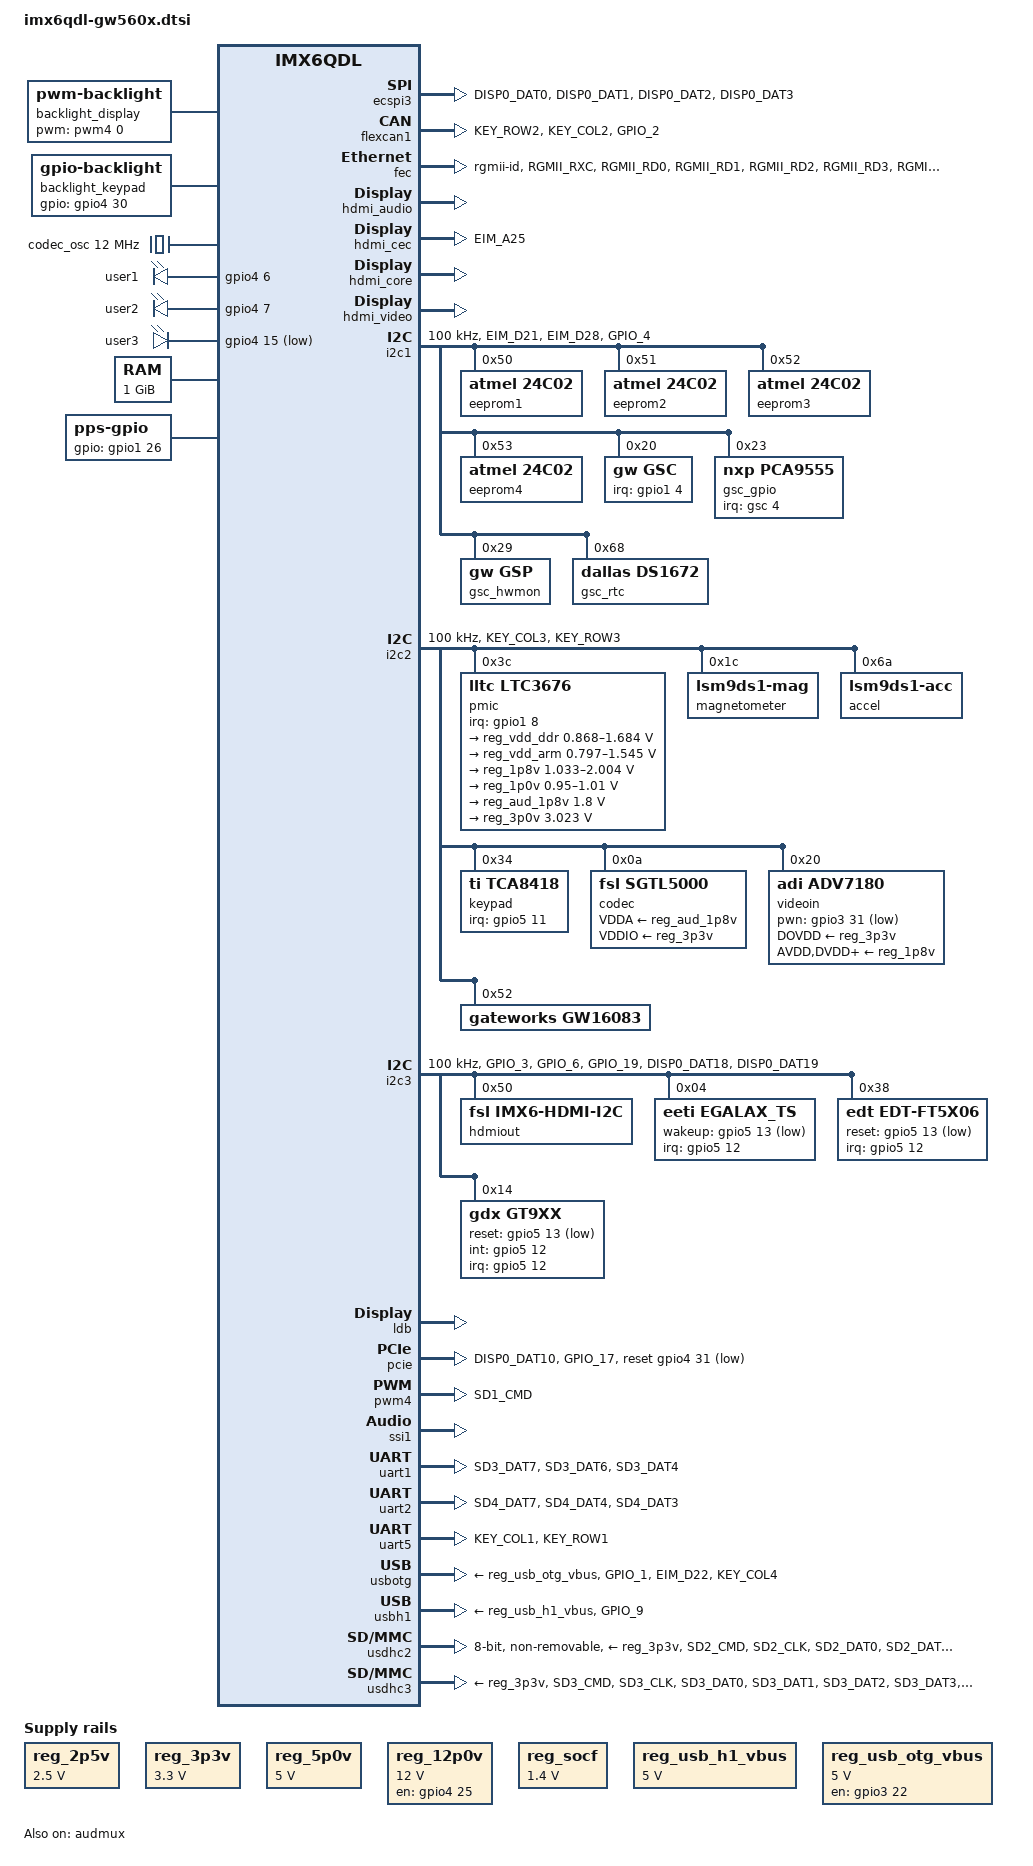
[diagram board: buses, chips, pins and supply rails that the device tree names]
/*
 * Copyright 2016 Gateworks Corporation
 *
 * The code contained herein is licensed under the GNU General Public
 * License. You may obtain a copy of the GNU General Public License
 * Version 2 or later at the following locations:
 *
 * http://www.opensource.org/licenses/gpl-license.html
 * http://www.gnu.org/copyleft/gpl.html
 */

/ {
	/* these are used by bootloader for disabling nodes */
	aliases {
		can0 = &flexcan1;
		ethernet0 = &fec;
		led0 = &led0;
		led1 = &led1;
		led2 = &led2;
		lvds0 = &lvds1;
		mxcfb0 = &mxcfb1;
		mxcfb1 = &mxcfb2;
		ssi0 = &ssi1;
		usb0 = &usbh1;
		usb1 = &usbotg;
		usdhc1 = &usdhc2;
		usdhc2 = &usdhc3;
	};

	chosen {
		bootargs = "console=ttymxc1,115200";
	};

	backlight_display {
		compatible = "pwm-backlight";
		pwms = <&pwm4 0 5000000>;
		brightness-levels = <0 4 8 16 32 64 128 255>;
		default-brightness-level = <7>;
	};

	backlight_keypad {
		compatible = "gpio-backlight";
		gpios = <&gpio4 30 GPIO_ACTIVE_HIGH>;
		default-on;
	};

	clocks {
		codec_osc: codec_osc {
			#clock-cells = <0>;
			compatible = "fixed-clock";
			clock-frequency = <12000000>;
		};
	};

	leds {
		compatible = "gpio-leds";
		pinctrl-names = "default";
		pinctrl-0 = <&pinctrl_gpio_leds>;

		led0: user1 {
			label = "user1";
			gpios = <&gpio4 6 GPIO_ACTIVE_HIGH>; /* MX6_PANLEDG */
			default-state = "on";
			linux,default-trigger = "heartbeat";
		};

		led1: user2 {
			label = "user2";
			gpios = <&gpio4 7 GPIO_ACTIVE_HIGH>; /* MX6_PANLEDR */
			default-state = "off";
		};

		led2: user3 {
			label = "user3";
			gpios = <&gpio4 15 GPIO_ACTIVE_LOW>; /* MX6_LOCLED# */
			default-state = "off";
		};
	};

	memory {
		reg = <0x10000000 0x40000000>;
	};

	pps {
		compatible = "pps-gpio";
		pinctrl-names = "default";
		pinctrl-0 = <&pinctrl_pps>;
		gpios = <&gpio1 26 GPIO_ACTIVE_HIGH>;
		status = "okay";
	};

	regulators {
		compatible = "simple-bus";
		#address-cells = <1>;
		#size-cells = <0>;

		reg_2p5v: regulator@0 {
			compatible = "regulator-fixed";
			reg = <0>;
			regulator-name = "2P5V";
			regulator-min-microvolt = <2500000>;
			regulator-max-microvolt = <2500000>;
			regulator-always-on;
		};

		reg_3p3v: regulator@1 {
			compatible = "regulator-fixed";
			reg = <1>;
			regulator-name = "3P3V";
			regulator-min-microvolt = <3300000>;
			regulator-max-microvolt = <3300000>;
			regulator-always-on;
		};

		reg_5p0v: regulator@2 {
			compatible = "regulator-fixed";
			reg = <2>;
			regulator-name = "5P0V";
			regulator-min-microvolt = <5000000>;
			regulator-max-microvolt = <5000000>;
			regulator-always-on;
		};

		reg_12p0v: regulator@3 {
			compatible = "regulator-fixed";
			reg = <3>;
			regulator-name = "12P0V";
			regulator-min-microvolt = <12000000>;
			regulator-max-microvolt = <12000000>;
			gpio = <&gpio4 25 GPIO_ACTIVE_HIGH>;
			enable-active-high;
		};

		reg_socf: regulator@4 {
			compatible = "regulator-fixed";
			reg = <4>;
			regulator-name = "vdd_soc";
			regulator-min-microvolt = <1400000>;
			regulator-max-microvolt = <1400000>;
			regulator-always-on;
		};

		reg_usb_h1_vbus: regulator@5 {
			compatible = "regulator-fixed";
			reg = <5>;
			regulator-name = "usb_h1_vbus";
			regulator-min-microvolt = <5000000>;
			regulator-max-microvolt = <5000000>;
			regulator-always-on;
		};

		reg_usb_otg_vbus: regulator@6 {
			compatible = "regulator-fixed";
			reg = <6>;
			regulator-name = "usb_otg_vbus";
			regulator-min-microvolt = <5000000>;
			regulator-max-microvolt = <5000000>;
			gpio = <&gpio3 22 GPIO_ACTIVE_HIGH>;
			enable-active-high;
		};
	};

	sound {
		compatible = "fsl,imx6q-ventana-sgtl5000",
			     "fsl,imx-audio-sgtl5000";
		model = "sgtl5000-audio";
		cpu-dai = <&ssi1>;
		audio-codec = <&codec>;
		audio-routing =
			"LINE_IN", "Line In Jack",
			"Line Out Jack", "LINE_OUT";
		mux-int-port = <1>;
		mux-ext-port = <4>;
	};

	sound-hdmi {
		compatible = "fsl,imx6q-audio-hdmi",
			     "fsl,imx-audio-hdmi";
		model = "imx-audio-hdmi";
		hdmi-controller = <&hdmi_audio>;
	};

	mxcfb1: fb@0 {
		/* hdmi */
		compatible = "fsl,mxc_sdc_fb";
		disp_dev = "hdmi";
		interface_pix_fmt = "RGB24";
		mode_str ="1920x1080M@60";
		default_bpp = <24>;
		int_clk = <0>;
		late_init = <0>;
		status = "okay";
	};

	mxcfb2: fb@1 {
		/* LVDS */
		compatible = "fsl,mxc_sdc_fb";
		disp_dev = "ldb";
		interface_pix_fmt = "RGB666";
		default_bpp = <16>;
		int_clk = <0>;
		late_init = <0>;
		status = "okay";
	};

	/*
	 * GW560x uses EIM1 for analog video capture.
	 * IMX6SDL EIM1 is IPU1_CSI1, IMX6DQ EIM1 is IPU2_CSI1
	 * thus pinctrl is done in soc-specific dts files
	 */
	cap0: v4l2_cap_0 {
		compatible = "fsl,imx6q-v4l2-capture";
		/* ipu/csi id set in cpu specific as pinmux varies */
		mclk_source = <0>;
		status = "okay";
	};

	/*
	 * GW560x uses IPU1_CSI0 for off-board 16bit capture.
	 */
	cap1: v4l2_cap_1 {
		compatible = "fsl,imx6q-v4l2-capture";
		pinctrl-names = "default";
		pinctrl-0 = <&pinctrl_ipu1_csi0>;
                ipu_id = <0>;
                csi_id = <0>;
                mclk_source = <0>;
                status = "okay";
	};

	v4l2_out {
		compatible = "fsl,mxc_v4l2_output";
		status = "okay";
	};
};

&audmux {
	pinctrl-names = "default";
	pinctrl-0 = <&pinctrl_audmux>;
	status = "okay";
};

&ecspi3 {
	fsl,spi-num-chipselects = <1>;
	cs-gpios = <&gpio4 24 GPIO_ACTIVE_HIGH>;
	pinctrl-names = "default";
	pinctrl-0 = <&pinctrl_ecspi3>;
	status = "okay";
};

&flexcan1 {
	pinctrl-names = "default";
	pinctrl-0 = <&pinctrl_flexcan>;
	trx-stby-gpio = <&gpio1 2 GPIO_ACTIVE_HIGH>;
	status = "okay";
};

&fec {
	pinctrl-names = "default";
	pinctrl-0 = <&pinctrl_enet>;
	phy-mode = "rgmii-id";
	phy-reset-gpios = <&gpio1 30 GPIO_ACTIVE_LOW>;
	status = "okay";
};

&gpc {
	fsl,ldo-bypass = <0>;
};

&hdmi_audio {
	status = "okay";
};

&hdmi_cec {
	pinctrl-names = "default";
	pinctrl-0 = <&pinctrl_hdmi_cec>;
	status = "okay";
};

&hdmi_core {
	ipu_id = <0>;
	disp_id = <1>;
	status = "okay";
};

&hdmi_video {
	fsl,phy_reg_vlev = <0x0294>;
	fsl,phy_reg_cksymtx = <0x800d>;
	status = "okay";
};

&i2c1 {
	clock-frequency = <100000>;
	pinctrl-names = "default";
	pinctrl-0 = <&pinctrl_i2c1>;
	status = "okay";

	eeprom1: eeprom@50 {
		compatible = "atmel,24c02";
		reg = <0x50>;
		pagesize = <16>;
	};

	eeprom2: eeprom@51 {
		compatible = "atmel,24c02";
		reg = <0x51>;
		pagesize = <16>;
	};

	eeprom3: eeprom@52 {
		compatible = "atmel,24c02";
		reg = <0x52>;
		pagesize = <16>;
	};

	eeprom4: eeprom@53 {
		compatible = "atmel,24c02";
		reg = <0x53>;
		pagesize = <16>;
	};

	gsc: gsc@20 {
		compatible = "gw,gsc";
		reg = <0x20>;
		interrupt-parent = <&gpio1>;
		interrupts = <4 GPIO_ACTIVE_LOW>;
		interrupt-controller;
		#interrupt-cells = <1>;

		/* GSC watchdog */
		watchdog {
			compatible = "gw,gsc_wdt";
			status = "okay";
		};

		/* Linux input events from GSC interrupt events */
		input {
			compatible = "gw,gsc_input";
			interrupt-parent = <&gsc>;
			interrupts = <0 1 2 5 7>;
			interrupt-names = "button", "key-erased", "eeprom-wp", "tamper", "button-held";
			status = "okay";
		};
	};

	gsc_gpio: pca9555@23 {
		compatible = "nxp,pca9555";
		reg = <0x23>;
		gpio-controller;
		#gpio-cells = <2>;
		interrupt-parent = <&gsc>;
		interrupts = <4>;
	};

	gsc_hwmon: hwmon@29 {
		compatible = "gw,gsp";
		reg = <0x29>;
	};

	gsc_rtc: ds1672@68 {
		compatible = "dallas,ds1672";
		reg = <0x68>;
	};
};

&i2c2 {
	clock-frequency = <100000>;
	pinctrl-names = "default";
	pinctrl-0 = <&pinctrl_i2c2>;
	status = "okay";

	pmic: ltc3676@3c {
		compatible = "lltc,ltc3676";
		pinctrl-names = "default";
		pinctrl-0 = <&pinctrl_pmic>;
		reg = <0x3c>;
		interrupt-parent = <&gpio1>;
		interrupts = <8 IRQ_TYPE_EDGE_FALLING>;

		regulators {
			/* VDD_DDR (1+R1/R2 = 2.105) */
			reg_vdd_ddr: sw2 {
				regulator-name = "vddddr";
				regulator-min-microvolt = <868310>;
				regulator-max-microvolt = <1684000>;
				lltc,fb-voltage-divider = <221000 200000>;
				regulator-ramp-delay = <7000>;
				regulator-boot-on;
				regulator-always-on;
			};

			/* VDD_ARM (1+R1/R2 = 1.931) */
			reg_vdd_arm: sw3 {
				regulator-name = "pmic_vddarm";
				regulator-min-microvolt = <796551>;
				regulator-max-microvolt = <1544827>;
				lltc,fb-voltage-divider = <243000 261000>;
				regulator-ramp-delay = <7000>;
				regulator-boot-on;
				regulator-always-on;
				linux,phandle = <&reg_vdd_arm>;
			};

			/* VDD_1P8 (1+R1/R2 = 2.505): GPS/VideoIn/ENET-PHY */
			reg_1p8v: sw4 {
				regulator-name = "vdd1p8";
				regulator-min-microvolt = <1033310>;
				regulator-max-microvolt = <2004000>;
				lltc,fb-voltage-divider = <301000 200000>;
				regulator-ramp-delay = <7000>;
				regulator-boot-on;
				regulator-always-on;
			};

			/* VDD_1P0 (1+R1/R2 = 1.01): PCIe/ENET-PHY */
			reg_1p0v: ldo2 {
				regulator-name = "vdd1p0";
				regulator-min-microvolt = <950000>;
				regulator-max-microvolt = <1010000>;
				lltc,fb-voltage-divider = <78700 200000>;
				regulator-boot-on;
				regulator-always-on;
			};

			/* VDD_AUD_1P8: Audio codec */
			reg_aud_1p8v: ldo3 {
				regulator-name = "vdd1p8a";
				regulator-min-microvolt = <1800000>;
				regulator-max-microvolt = <1800000>;
				regulator-boot-on;
			};

			/* VDD_HIGH (1+R1/R2 = 4.17) */
			reg_3p0v: ldo4 {
				regulator-name = "pmic_vdd3p0";
				regulator-min-microvolt = <3023250>;
				regulator-max-microvolt = <3023250>;
				lltc,fb-voltage-divider = <634000 200000>;
				regulator-boot-on;
				regulator-always-on;
			};
		};
	};

	magnetometer: lsm9ds1@1c {
		compatible = "lsm9ds1-mag";
		pinctrl-names = "default";
		pinctrl-0 = <&pinctrl_mag>;
		reg = <0x1c>;
	};

	accel: lsm9ds1@6a {
		compatible = "lsm9ds1-acc";
		pinctrl-names = "default";
		pinctrl-0 = <&pinctrl_acc>;
		reg = <0x6a>;
	};

	keypad: tca8418@34 {
		compatible = "ti,tca8418";
		pinctrl-names = "default";
		pinctrl-0 = <&pinctrl_keypad>;
		reg = <0x34>;
		interrupt-parent = <&gpio5>;
		interrupts = <11 IRQ_TYPE_EDGE_FALLING>;
		linux,keymap = <0x00010100	/* BTN_0 HOME */
			        0x00000101	/* BTN_1 MENU */
			        0x01010102	/* BTN_2 ESCAPE */
			        0x01000103	/* BTN_3 BACK */
			        0x02000104	/* BTN_4 SEARCH */
			        0x00030105	/* BTN_5 UP */
			        0x00020106	/* BTN_6 RIGHT */
			        0x01030107	/* BTN_7 LEFT */
			        0x01020108	/* BTN_8 DOWN */
			        0x02020109>;	/* BTN_9 ENTER */
		keypad,num-rows = <4>;
		keypad,num-columns = <4>;
	};

	codec: sgtl5000@0a {
		compatible = "fsl,sgtl5000";
		reg = <0x0a>;
		clocks = <&codec_osc>;
		VDDA-supply = <&reg_aud_1p8v>;
		VDDIO-supply = <&reg_3p3v>;
	};

	/* Analog VideoIn */
	/* EIM pads differ between IMX6Q and IMX6DL so we define pinmux/csi/ipu in IMX6Q/IMX6DL */
	videoin: adv7180@20 {
		compatible = "adi,adv7180";
		reg = <0x20>;
		clocks = <&clks 201>;
		clock-names = "csi_mclk";
		DOVDD-supply = <&reg_3p3v>;
		AVDD-supply = <&reg_1p8v>;
		DVDD-supply = <&reg_1p8v>;
		PVDD-supply = <&reg_1p8v>;
		pwn-gpios = <&gpio3 31 GPIO_ACTIVE_LOW>; /* powerdown */
		/* mclk required but not used */
		mclk = <24000000>;
		mclk_source = <0>;
		cvbs = <1>;
	};

	gw16083: gw16083@52 {
		compatible = "gateworks,gw16083";
		reg = <0x52>;
	};
};

&i2c3 {
	clock-frequency = <100000>;
	pinctrl-names = "default";
	pinctrl-0 = <&pinctrl_i2c3>;
	status = "okay";

	hdmiout: edid@50 {
		compatible = "fsl,imx6-hdmi-i2c";
		reg = <0x50>;
	};

	/* touchscreen */
	egalax_ts@04 {
		compatible = "eeti,egalax_ts";
		reg = <0x04>;
		interrupt-parent = <&gpio5>;
		interrupts = <12 IRQ_TYPE_EDGE_FALLING>;
		wakeup-gpios = <&gpio5 13 GPIO_ACTIVE_LOW>;
	};

	/* touchscreen */
	edt-ft5x06@38 {
		compatible = "edt,edt-ft5x06";
		reg = <0x38>;
		interrupt-parent = <&gpio5>;
		interrupts = <12 IRQ_TYPE_EDGE_FALLING>;
		reset-gpios = <&gpio5 13 GPIO_ACTIVE_LOW>;
		invert;
		screen-x = <1024>;
		screen-y = <600>;
	};

	/* touchscreen */
	gt9xx@14 {
		compatible = "gdx,gt9xx";
		reg = <0x14>;
		interrupt-parent = <&gpio5>;
		interrupts = <12 IRQ_TYPE_EDGE_FALLING>;
		reset-gpio = <&gpio5 13 GPIO_ACTIVE_LOW>;
		int-gpio = <&gpio5 12 GPIO_ACTIVE_HIGH>;
		rotate;
	};
};

&ldb {
	fsl,dual-channel;
	status = "okay";

	lvds1: lvds-channel@0 {
		fsl,data-mapping = "spwg";
		fsl,data-width = <18>;
		crtc = "ipu1-di0";
		status = "okay";
		primary;

		display-timings {
			native-mode = <&timing0>;

			timing0: hsd100pxn1 {
				clock-frequency = <65000000>;
				hactive = <1024>;
				vactive = <768>;
				hback-porch = <220>;
				hfront-porch = <40>;
				vback-porch = <21>;
				vfront-porch = <7>;
				hsync-len = <60>;
				vsync-len = <10>;
				linux,phandle = <&timing0>;
			};

			timing1: dlc800figt3 {
				clock-frequency = <65000000>;
				hactive = <1024>;
				vactive = <768>;
				hback-porch = <220>;
				hfront-porch = <40>;
				vback-porch = <21>;
				vfront-porch = <7>;
				hsync-len = <60>;
				vsync-len = <10>;
				linux,phandle = <&timing1>;
			};

			timing2: dlc700jmgt4 {
				clock-frequency = <65000000>;
				hactive = <1024>;
				vactive = <600>;
				hback-porch = <180>;
				hfront-porch = <40>;
				vback-porch = <21>;
				vfront-porch = <7>;
				hsync-len = <60>;
				vsync-len = <10>;
				linux,phandle = <&timing2>;
			};
		};
	};
};

&pcie {
	pinctrl-names = "default";
	pinctrl-0 = <&pinctrl_pcie>;
	reset-gpio = <&gpio4 31 GPIO_ACTIVE_LOW>;
	status = "okay";
};

&pwm2 {
	pinctrl-names = "default";
	pinctrl-0 = <&pinctrl_pwm2>; /* MX6_DIO1 */
	status = "disabled";
};

&pwm3 {
	pinctrl-names = "default";
	pinctrl-0 = <&pinctrl_pwm3>; /* MX6_DIO2 */
	status = "disabled";
};

&pwm4 {
	pinctrl-names = "default";
	pinctrl-0 = <&pinctrl_pwm4>;
	status = "okay";
};

&ssi1 {
	fsl,mode = "i2s-slave";
	status = "okay";
};

&uart1 {
	pinctrl-names = "default";
	pinctrl-0 = <&pinctrl_uart1>;
	fsl,rs485-gpio-txen = <&gpio7 1 GPIO_ACTIVE_HIGH>;
	status = "okay";
};

&uart2 {
	pinctrl-names = "default";
	pinctrl-0 = <&pinctrl_uart2>;
	status = "okay";
};

&uart5 {
	pinctrl-names = "default";
	pinctrl-0 = <&pinctrl_uart5>;
	status = "okay";
};

&usbotg {
	vbus-supply = <&reg_usb_otg_vbus>;
	pinctrl-names = "default";
	pinctrl-0 = <&pinctrl_usbotg>;
	disable-over-current;
	status = "okay";
};

&usbh1 {
	vbus-supply = <&reg_usb_h1_vbus>;
	pinctrl-names = "default";
	pinctrl-0 = <&pinctrl_usbh1>;
	status = "okay";
};

&usdhc2 {
	pinctrl-names = "default";
	pinctrl-0 = <&pinctrl_usdhc2>;
	bus-width = <8>;
	vmmc-supply = <&reg_3p3v>;
	non-removable;
	status = "okay";
};

&usdhc3 {
	pinctrl-names = "default", "state_100mhz", "state_200mhz";
	pinctrl-0 = <&pinctrl_usdhc3>;
	pinctrl-1 = <&pinctrl_usdhc3_100mhz>;
	pinctrl-2 = <&pinctrl_usdhc3_200mhz>;
	cd-gpios = <&gpio7 0 GPIO_ACTIVE_HIGH>;
	vmmc-supply = <&reg_3p3v>;
	status = "okay";
};

&wdog1 {
	pinctrl-names = "default";
	pinctrl-0 = <&pinctrl_wdog>;
	ext-reset-output;
};

&iomuxc {
	pinctrl-names = "default";
	pinctrl-0 = <&pinctrl_hog>;

	imx6qdl-gw53xx {
		pinctrl_hog: hoggrp {
			fsl,pins = <
				MX6QDL_PAD_EIM_A19__GPIO2_IO19		0x4001b0b0 /* MEZZ_DIO0 */
				MX6QDL_PAD_EIM_A20__GPIO2_IO18		0x0001b0b0 /* MEZZ_DIO1 */
				MX6QDL_PAD_DISP0_DAT5__GPIO4_IO26	0x4001b0b0 /* 12V0_PWR_EN */
			 >;
		};

		pinctrl_audmux: audmuxgrp {
			fsl,pins = <
				/* AUD4 */
				MX6QDL_PAD_DISP0_DAT20__AUD4_TXC	0x130b0
				MX6QDL_PAD_DISP0_DAT21__AUD4_TXD	0x130b0
				MX6QDL_PAD_DISP0_DAT22__AUD4_TXFS	0x130b0
				MX6QDL_PAD_DISP0_DAT23__AUD4_RXD	0x130b0
				/* AUD6 */
				MX6QDL_PAD_DI0_PIN2__AUD6_TXD		0x130b0
				MX6QDL_PAD_DI0_PIN3__AUD6_TXFS		0x130b0
				MX6QDL_PAD_DI0_PIN4__AUD6_RXD		0x130b0
				MX6QDL_PAD_DI0_PIN15__AUD6_TXC		0x130b0
			>;
		};

		pinctrl_ecspi3: escpi3grp {
			fsl,pins = <
				MX6QDL_PAD_DISP0_DAT0__ECSPI3_SCLK	0x100b1
				MX6QDL_PAD_DISP0_DAT1__ECSPI3_MOSI	0x100b1
				MX6QDL_PAD_DISP0_DAT2__ECSPI3_MISO	0x100b1
				MX6QDL_PAD_DISP0_DAT3__GPIO4_IO24	0x100b1
			>;
		};

		pinctrl_enet: enetgrp {
			fsl,pins = <
				MX6QDL_PAD_RGMII_RXC__RGMII_RXC		0x1b0b0
				MX6QDL_PAD_RGMII_RD0__RGMII_RD0		0x1b0b0
				MX6QDL_PAD_RGMII_RD1__RGMII_RD1		0x1b0b0
				MX6QDL_PAD_RGMII_RD2__RGMII_RD2		0x1b0b0
				MX6QDL_PAD_RGMII_RD3__RGMII_RD3		0x1b0b0
				MX6QDL_PAD_RGMII_RX_CTL__RGMII_RX_CTL	0x1b0b0
				MX6QDL_PAD_RGMII_TXC__RGMII_TXC		0x1b0b0
				MX6QDL_PAD_RGMII_TD0__RGMII_TD0		0x1b0b0
				MX6QDL_PAD_RGMII_TD1__RGMII_TD1		0x1b0b0
				MX6QDL_PAD_RGMII_TD2__RGMII_TD2		0x1b0b0
				MX6QDL_PAD_RGMII_TD3__RGMII_TD3		0x1b0b0
				MX6QDL_PAD_RGMII_TX_CTL__RGMII_TX_CTL	0x1b0b0
				MX6QDL_PAD_ENET_REF_CLK__ENET_TX_CLK	0x1b0b0
				MX6QDL_PAD_ENET_MDIO__ENET_MDIO		0x1b0b0
				MX6QDL_PAD_ENET_MDC__ENET_MDC		0x1b0b0
				MX6QDL_PAD_GPIO_16__ENET_REF_CLK	0x4001b0a8
				MX6QDL_PAD_ENET_TXD0__GPIO1_IO30	0x4001b0b0 /* PHY_RST# */
			>;
		};

		pinctrl_flexcan: flexcangrp {
			fsl,pins = <
				MX6QDL_PAD_KEY_ROW2__FLEXCAN1_RX	0x1b0b1
				MX6QDL_PAD_KEY_COL2__FLEXCAN1_TX	0x1b0b1
				MX6QDL_PAD_GPIO_2__GPIO1_IO02		0x4001b0b0 /* CAN_STBY */
			>;
		};

		pinctrl_gpio_leds: gpioledsgrp {
			fsl,pins = <
				MX6QDL_PAD_KEY_COL0__GPIO4_IO06		0x1b0b0
				MX6QDL_PAD_KEY_ROW0__GPIO4_IO07		0x1b0b0
				MX6QDL_PAD_KEY_ROW4__GPIO4_IO15		0x1b0b0
			>;
		};

		pinctrl_hdmi_cec: hdmicecgrp {
			fsl,pins = <
				MX6QDL_PAD_EIM_A25__HDMI_TX_CEC_LINE	0x1f8b0
			>;
		};

		pinctrl_i2c1: i2c1grp {
			fsl,pins = <
				MX6QDL_PAD_EIM_D21__I2C1_SCL		0x4001b8b1
				MX6QDL_PAD_EIM_D28__I2C1_SDA		0x4001b8b1
				MX6QDL_PAD_GPIO_4__GPIO1_IO04 		0x0001b0b0 /* GSC_IRQ# */
			>;
		};

		pinctrl_usbh1: usbh1grp {
			fsl,pins = <
				MX6QDL_PAD_GPIO_9__GPIO1_IO09		0x4001b0b0 /* USBHUB_RST# */
			>;
		};

		pinctrl_i2c2: i2c2grp {
			fsl,pins = <
				MX6QDL_PAD_KEY_COL3__I2C2_SCL		0x4001b8b1
				MX6QDL_PAD_KEY_ROW3__I2C2_SDA		0x4001b8b1
			>;
		};

		pinctrl_pmic: pmicgrp {
			fsl,pins = <
				MX6QDL_PAD_GPIO_8__GPIO1_IO08		0x0001b0b0 /* PMIC_IRQ# */
			>;
		};

		pinctrl_acc: accgrp {
			fsl,pins = <
				MX6QDL_PAD_DISP0_DAT12__GPIO5_IO06	0x0001b0b0 /* SENSE_INT1 */
				MX6QDL_PAD_DISP0_DAT13__GPIO5_IO07	0x0001b0b0 /* SENSE_INT2 */
				MX6QDL_PAD_DISP0_DAT16__GPIO5_IO10	0x0001b0b0 /* GYRO_CONTROL */
			>;
		};

		pinctrl_mag: maggrp {
			fsl,pins = <
				MX6QDL_PAD_DISP0_DAT14__GPIO5_IO08	0x0001b0b0 /* DRDY_M */
				MX6QDL_PAD_DISP0_DAT15__GPIO5_IO09	0x0001b0b0 /* MAG_INT */
			>;
		};

		pinctrl_i2c3: i2c3grp {
			fsl,pins = <
				MX6QDL_PAD_GPIO_3__I2C3_SCL		0x4001b8b1
				MX6QDL_PAD_GPIO_6__I2C3_SDA		0x4001b8b1

				/* Misc */
				MX6QDL_PAD_GPIO_19__GPIO4_IO05		0x4001b0b0 /* DIOI2C_DIS# */

				/* Backlight / Touch Connector */
				MX6QDL_PAD_DISP0_DAT18__GPIO5_IO12	0x0001b0b0 /* LVDS_TOUCH_IRQ# */
				MX6QDL_PAD_DISP0_DAT19__GPIO5_IO13	0x0001b0b0 /* LVDS_BACKEN */

			>;
		};

		pinctrl_keypad: keypadgrp {
			fsl,pins = <
				MX6QDL_PAD_DISP0_DAT17__GPIO5_IO11	0x0001b0b0 /* KEYPAD_IRQ# */
				MX6QDL_PAD_DISP0_DAT9__GPIO4_IO30	0x0001b0b0 /* KEYPAD_LED_EN */
			>;
		};

		pinctrl_pcie: pciegrp {
			fsl,pins = <
				MX6QDL_PAD_DISP0_DAT10__GPIO4_IO31	0x1b0b0    /* PCI_RST# */
				MX6QDL_PAD_GPIO_17__GPIO7_IO12		0x4001b0b0 /* PCIESKT_WDIS# */
			>;
		};

		pinctrl_pps: ppsgrp {
			fsl,pins = <
				MX6QDL_PAD_ENET_RXD1__GPIO1_IO26	0x1b0b1
			>;
		};

		pinctrl_pwm2: pwm2grp {
			fsl,pins = <
				MX6QDL_PAD_SD1_DAT2__PWM2_OUT		0x1b0b1
			>;
		};

		pinctrl_pwm3: pwm3grp {
			fsl,pins = <
				MX6QDL_PAD_SD1_DAT1__PWM3_OUT		0x1b0b1
			>;
		};

		pinctrl_pwm4: pwm4grp {
			fsl,pins = <
				MX6QDL_PAD_SD1_CMD__PWM4_OUT		0x1b0b1
			>;
		};

		pinctrl_uart1: uart1grp {
			fsl,pins = <
				MX6QDL_PAD_SD3_DAT7__UART1_TX_DATA	0x1b0b1
				MX6QDL_PAD_SD3_DAT6__UART1_RX_DATA	0x1b0b1
				MX6QDL_PAD_SD3_DAT4__GPIO7_IO01		0x4001b0b1 /* TEN */
			>;
		};

		pinctrl_uart2: uart2grp {
			fsl,pins = <
				MX6QDL_PAD_SD4_DAT7__UART2_TX_DATA	0x1b0b1
				MX6QDL_PAD_SD4_DAT4__UART2_RX_DATA	0x1b0b1
				MX6QDL_PAD_SD4_DAT3__GPIO2_IO11		0x4001b0b0 /* UART2_EN# */
			>;
		};

		pinctrl_uart5: uart5grp {
			fsl,pins = <
				MX6QDL_PAD_KEY_COL1__UART5_TX_DATA	0x1b0b1
				MX6QDL_PAD_KEY_ROW1__UART5_RX_DATA	0x1b0b1
			>;
		};

		pinctrl_usbotg: usbotggrp {
			fsl,pins = <
				MX6QDL_PAD_GPIO_1__USB_OTG_ID		0x17059
				MX6QDL_PAD_EIM_D22__GPIO3_IO22		0x1b0b0 /* PWR_EN */
				MX6QDL_PAD_KEY_COL4__GPIO4_IO14		0x1b0b0 /* OC */
			>;
		};

		pinctrl_usdhc2: usdhc2grp {
			fsl,pins = <
				MX6QDL_PAD_SD2_CMD__SD2_CMD		0x170f9
				MX6QDL_PAD_SD2_CLK__SD2_CLK		0x100f9
				MX6QDL_PAD_SD2_DAT0__SD2_DATA0		0x170f9
				MX6QDL_PAD_SD2_DAT1__SD2_DATA1		0x170f9
				MX6QDL_PAD_SD2_DAT2__SD2_DATA2		0x170f9
				MX6QDL_PAD_SD2_DAT3__SD2_DATA3		0x170f9
				MX6QDL_PAD_NANDF_D4__SD2_DATA4		0x170f9
				MX6QDL_PAD_NANDF_D5__SD2_DATA5		0x170f9
				MX6QDL_PAD_NANDF_D6__SD2_DATA6		0x170f9
				MX6QDL_PAD_NANDF_D7__SD2_DATA7		0x170f9
			>;
		};

		pinctrl_usdhc3: usdhc3grp {
			fsl,pins = <
				MX6QDL_PAD_SD3_CMD__SD3_CMD		0x17059
				MX6QDL_PAD_SD3_CLK__SD3_CLK		0x10059
				MX6QDL_PAD_SD3_DAT0__SD3_DATA0		0x17059
				MX6QDL_PAD_SD3_DAT1__SD3_DATA1		0x17059
				MX6QDL_PAD_SD3_DAT2__SD3_DATA2		0x17059
				MX6QDL_PAD_SD3_DAT3__SD3_DATA3		0x17059
				MX6QDL_PAD_NANDF_CS1__SD3_VSELECT	0x17059
				MX6QDL_PAD_SD3_DAT5__GPIO7_IO00		0x17059 /* CD */
			>;
		};

		pinctrl_usdhc3_100mhz: usdhc3grp100mhz {
			fsl,pins = <
				MX6QDL_PAD_SD3_CMD__SD3_CMD		0x170b9
				MX6QDL_PAD_SD3_CLK__SD3_CLK		0x100b9
				MX6QDL_PAD_SD3_DAT0__SD3_DATA0		0x170b9
				MX6QDL_PAD_SD3_DAT1__SD3_DATA1		0x170b9
				MX6QDL_PAD_SD3_DAT2__SD3_DATA2		0x170b9
				MX6QDL_PAD_SD3_DAT3__SD3_DATA3		0x170b9
				MX6QDL_PAD_NANDF_CS1__SD3_VSELECT	0x170b9
				MX6QDL_PAD_SD3_DAT5__GPIO7_IO00		0x170b9 /* CD */
			>;
		};

		pinctrl_usdhc3_200mhz: usdhc3grp200mhz {
			fsl,pins = <
				MX6QDL_PAD_SD3_CMD__SD3_CMD		0x170f9
				MX6QDL_PAD_SD3_CLK__SD3_CLK		0x100f9
				MX6QDL_PAD_SD3_DAT0__SD3_DATA0		0x170f9
				MX6QDL_PAD_SD3_DAT1__SD3_DATA1		0x170f9
				MX6QDL_PAD_SD3_DAT2__SD3_DATA2		0x170f9
				MX6QDL_PAD_SD3_DAT3__SD3_DATA3		0x170f9
				MX6QDL_PAD_NANDF_CS1__SD3_VSELECT	0x170f9
				MX6QDL_PAD_SD3_DAT5__GPIO7_IO00		0x170f9 /* CD */
			>;
		};

		pinctrl_ipu1_csi0: ipu1_csi0grp {
			fsl,pins = <
				MX6QDL_PAD_CSI0_PIXCLK__IPU1_CSI0_PIXCLK	0x10
				MX6QDL_PAD_CSI0_MCLK__IPU1_CSI0_HSYNC		0x10
				MX6QDL_PAD_CSI0_DATA_EN__IPU1_CSI0_DATA_EN	0x10
				MX6QDL_PAD_CSI0_VSYNC__IPU1_CSI0_VSYNC		0x10
				MX6QDL_PAD_CSI0_DAT4__IPU1_CSI0_DATA04		0x10
				MX6QDL_PAD_CSI0_DAT5__IPU1_CSI0_DATA05		0x10
				MX6QDL_PAD_CSI0_DAT6__IPU1_CSI0_DATA06		0x10
				MX6QDL_PAD_CSI0_DAT7__IPU1_CSI0_DATA07		0x10
				MX6QDL_PAD_CSI0_DAT8__IPU1_CSI0_DATA08		0x10
				MX6QDL_PAD_CSI0_DAT9__IPU1_CSI0_DATA09		0x10
				MX6QDL_PAD_CSI0_DAT10__IPU1_CSI0_DATA10		0x10
				MX6QDL_PAD_CSI0_DAT11__IPU1_CSI0_DATA11		0x10
				MX6QDL_PAD_CSI0_DAT12__IPU1_CSI0_DATA12		0x10
				MX6QDL_PAD_CSI0_DAT13__IPU1_CSI0_DATA13		0x10
				MX6QDL_PAD_CSI0_DAT14__IPU1_CSI0_DATA14		0x10
				MX6QDL_PAD_CSI0_DAT15__IPU1_CSI0_DATA15		0x10
				MX6QDL_PAD_DISP0_DAT4__GPIO4_IO25		0x4001b0b0 /* VID_IRQ */
				MX6QDL_PAD_DISP0_DAT7__GPIO4_IO28		0x0001b0b0 /* VID_RST */
			>;
		};

		pinctrl_wdog: wdoggrp {
			fsl,pins = <
				MX6QDL_PAD_DISP0_DAT8__WDOG1_B		0x1b0b0
			>;
		};
	};
};
